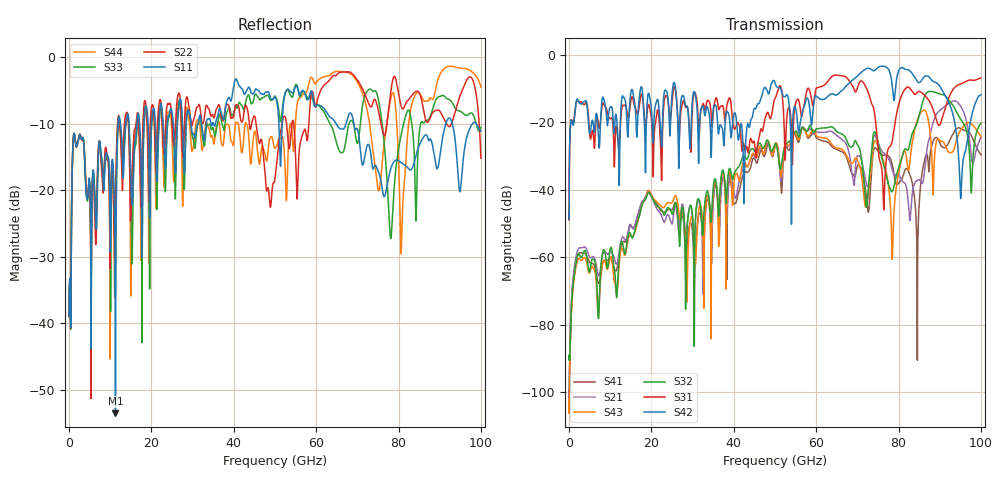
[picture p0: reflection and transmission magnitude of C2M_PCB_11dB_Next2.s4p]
! Info: Touchstone file created by Circ.  Input file=Intel_C2M_200G_1in_202204012_staggered.circ
# Hz S RI R 50
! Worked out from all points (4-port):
!   10000 points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, 10 MHz to 100 GHz, reference 50 ohm
!   strongest paths, dB at 10 MHz, 25.01 GHz, 50.01 GHz, 75.01 GHz, 100 GHz:
!     S42: -48.8, -11.7, -8.4, -3.8, -11.9
!     S31: -49.0, -13.8, -13.0, -27.4, -6.9
!     S32: -89.1, -47.2, -26.4, -25.9, -20.3
!     S43: -102.0, -43.8, -26.7, -27.0, -24.3
!     S21: -99.6, -50.2, -26.6, -26.1, -24.5
!     S41: -100.5, -45.9, -27.3, -28.5, -29.7
!   lowest |S11| = -53.5 dB at 11.27 GHz (marker M1), VSWR 1.00, Z = 50.1 - j0.205 ohm
!   |S11| at or under -10 dB: start of sweep to 11.89 GHz; 69.14 GHz to 91.49 GHz (22.34 GHz wide, 27.8 % of centre); 93.06 GHz to 97.95 GHz (4.888 GHz wide, 5.12 % of centre)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
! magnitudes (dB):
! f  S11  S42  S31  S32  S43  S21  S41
! 10 MHz  -38.9  -48.8  -49.0  -89.1  -102.0  -99.6  -100.5
! 11.27 GHz  -53.5  -17.9  -22.8  -66.9  -68.7  -61.5  -64.1
! 66.53 GHz  -10.8  -10.3  -6.3  -23.7  -28.3  -25.3  -29.0
! 76.37 GHz  -20.8  -3.4  -44.9  -32.6  -31.7  -29.1  -29.8
! 84.54 GHz  -14.1  -7.9  -11.2  -20.1  -19.5  -37.3  -68.4
! 95.15 GHz  -19.3  -41.8  -8.6  -19.2  -22.2  -15.4  -21.9
! 100 GHz  -11.1  -11.9  -6.9  -20.3  -24.3  -24.5  -29.7
